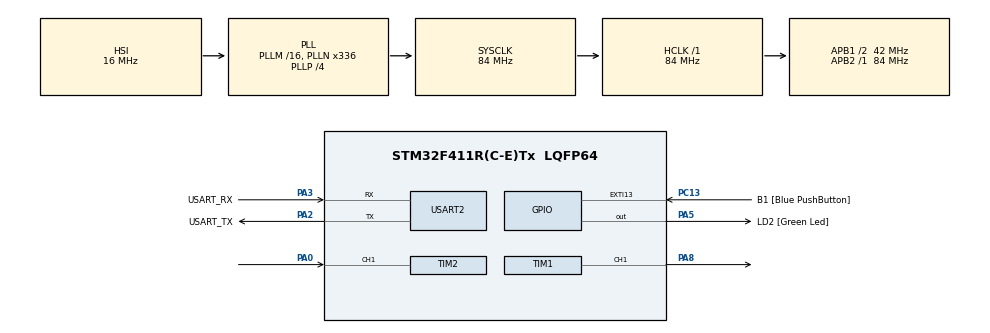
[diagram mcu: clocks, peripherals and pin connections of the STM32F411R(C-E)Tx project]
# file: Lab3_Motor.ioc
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Dma.Request0=TIM2_CH1
Dma.TIM2_CH1.0.Direction=DMA_PERIPH_TO_MEMORY
Dma.TIM2_CH1.0.FIFOMode=DMA_FIFOMODE_DISABLE
Dma.TIM2_CH1.0.Instance=DMA1_Stream5
Dma.TIM2_CH1.0.MemDataAlignment=DMA_MDATAALIGN_WORD
Dma.TIM2_CH1.0.MemInc=DMA_MINC_ENABLE
Dma.TIM2_CH1.0.Mode=DMA_CIRCULAR
Dma.TIM2_CH1.0.PeriphDataAlignment=DMA_PDATAALIGN_WORD
Dma.TIM2_CH1.0.PeriphInc=DMA_PINC_DISABLE
Dma.TIM2_CH1.0.Priority=DMA_PRIORITY_LOW
Mcu.Family=STM32F4
Mcu.Name=STM32F411R(C-E)Tx
Mcu.Package=LQFP64
NVIC.DMA1_Stream5_IRQn=true\:0\:0\:false\:false\:true\:false\:true\:true
NVIC.PriorityGroup=NVIC_PRIORITYGROUP_0
PA0-WKUP.Signal=S_TIM2_CH1_ETR
PA13.GPIO_Label=TMS
PA13.Mode=Serial_Wire
PA13.Signal=SYS_JTMS-SWDIO
PA14.GPIO_Label=TCK
PA14.Mode=Serial_Wire
PA14.Signal=SYS_JTCK-SWCLK
PA2.GPIO_Label=USART_TX
PA2.Mode=Asynchronous
PA2.Signal=USART2_TX
PA3.GPIO_Label=USART_RX
PA3.Mode=Asynchronous
PA3.Signal=USART2_RX
PA5.GPIO_Label=LD2 [Green Led]
PA5.Signal=GPIO_Output
PA8.Signal=S_TIM1_CH1
PB3.GPIO_Label=SWO
PB3.Signal=SYS_JTDO-SWO
PC13-ANTI_TAMP.GPIO_Label=B1 [Blue PushButton]
PC13-ANTI_TAMP.GPIO_ModeDefaultEXTI=GPIO_MODE_IT_FALLING
PC13-ANTI_TAMP.Signal=GPXTI13
PC14-OSC32_IN.Mode=LSE-External-Oscillator
PC14-OSC32_IN.Signal=RCC_OSC32_IN
PC15-OSC32_OUT.Mode=LSE-External-Oscillator
PC15-OSC32_OUT.Signal=RCC_OSC32_OUT
PH0\ -\ OSC_IN.Mode=HSE-External-Clock-Source
PH0\ -\ OSC_IN.Signal=RCC_OSC_IN
PH1\ -\ OSC_OUT.Mode=HSE-External-Clock-Source
PH1\ -\ OSC_OUT.Signal=RCC_OSC_OUT
ProjectManager.HeapSize=0x200
ProjectManager.StackSize=0x400
ProjectManager.TargetToolchain=STM32CubeIDE
RCC.48MHZClocksFreq_Value=84000000
RCC.AHBFreq_Value=84000000
RCC.APB1CLKDivider=RCC_HCLK_DIV2
RCC.APB1Freq_Value=42000000
RCC.APB1TimFreq_Value=84000000
RCC.APB2Freq_Value=84000000
RCC.APB2TimFreq_Value=84000000
RCC.CortexFreq_Value=84000000
RCC.FLatency-AdvancedSettings=FLASH_LATENCY_2
RCC.HCLKFreq_Value=84000000
RCC.HSE_VALUE=8000000
RCC.HSI_VALUE=16000000
RCC.PLLN=336
RCC.PLLP=RCC_PLLP_DIV4
RCC.SYSCLKFreq_VALUE=84000000
RCC.SYSCLKSource=RCC_SYSCLKSOURCE_PLLCLK
RCC.VCOOutputFreq_Value=336000000
SH.S_TIM1_CH1.0=TIM1_CH1,PWM Generation1 CH1
SH.S_TIM2_CH1_ETR.0=TIM2_CH1,Input_Capture1_from_TI1
TIM1.Channel-PWM\ Generation1\ CH1=TIM_CHANNEL_1
TIM1.Period=999
TIM1.Prescaler=83
TIM1.Pulse-PWM\ Generation1\ CH1=500
TIM2.Channel-Input_Capture1_from_TI1=TIM_CHANNEL_1
TIM2.Prescaler=83
USART2.VirtualMode=VM_ASYNC
VP_TIM1_VS_ClockSourceINT.Mode=Internal
VP_TIM2_VS_ClockSourceINT.Mode=Internal
board=NUCLEO-F411RE

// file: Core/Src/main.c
/* USER CODE BEGIN Header */
/**
  ******************************************************************************
  * @file           : main.c
  * @brief          : Main program body
  ******************************************************************************
  * @attention
  *
  * Copyright (c) 2023 STMicroelectronics.
  * All rights reserved.
  *
  * This software is licensed under terms that can be found in the LICENSE file
  * in the root directory of this software component.
  * If no LICENSE file comes with this software, it is provided AS-IS.
  *
  ******************************************************************************
  */
/* USER CODE END Header */
#include "main.h"

/* USER CODE BEGIN Includes */
#define IC_BUFFER_SIZE 20
/* USER CODE END Includes */

TIM_HandleTypeDef htim1;
TIM_HandleTypeDef htim2;
DMA_HandleTypeDef hdma_tim2_ch1;

UART_HandleTypeDef huart2;

/* USER CODE BEGIN PV */
uint32_t InputCaptureBuffer[IC_BUFFER_SIZE];
float averageRisingedgePeriod;
float MotorSetDuty = 50;
//uint32_t MotorSetDuty = 50;
float MotorSetRPM = 0;
float MotorReadRPM = 0;
uint32_t MotorControlEnable = 0;
float ErrorRPM = 0;
/* USER CODE END PV */

void SystemClock_Config(void);
static void MX_GPIO_Init(void);
static void MX_DMA_Init(void);
static void MX_USART2_UART_Init(void);
static void MX_TIM1_Init(void);
static void MX_TIM2_Init(void);
/* USER CODE BEGIN PFP */
float IC_Calc_Period();
/* USER CODE END PFP */

int main(void)
{

  /* MCU Configuration--------------------------------------------------------*/

  /* Reset of all peripherals, Initializes the Flash interface and the Systick. */
  HAL_Init();

  /* Configure the system clock */
  SystemClock_Config();

  /* Initialize all configured peripherals */
  MX_GPIO_Init();
  MX_DMA_Init();
  MX_USART2_UART_Init();
  MX_TIM1_Init();
  MX_TIM2_Init();
  /* USER CODE BEGIN 2 */
  HAL_TIM_Base_Start(&htim2);
  HAL_TIM_IC_Start_DMA(&htim2, TIM_CHANNEL_1, InputCaptureBuffer, IC_BUFFER_SIZE);

  HAL_TIM_Base_Start(&htim1);
  HAL_TIM_PWM_Start(&htim1, TIM_CHANNEL_1);
  /* USER CODE END 2 */

  /* Infinite loop */
  while (1)
  {

    /* USER CODE BEGIN 3 */
	  static uint32_t timestamp = 0;
	  if(HAL_GetTick() >= timestamp)
	  {
		  timestamp = HAL_GetTick() + 500;
//		  averageRisingedgePeriod = IC_Calc_Period();
		  //__HAL_TIM_SET_COMPARE(&htim1,TIM_CHANNEL_1,duty);
		  averageRisingedgePeriod = IC_Calc_Period();
		  MotorReadRPM = 60/(64*12*averageRisingedgePeriod*0.000001);
		  switch(MotorControlEnable)
		  {
		  	  case 0:
		  		  __HAL_TIM_SET_COMPARE(&htim1,TIM_CHANNEL_1,MotorSetDuty*10);
		  		  ErrorRPM = 0;
		  		  break;
		  	  case 1:
		  		  if(MotorSetRPM < MotorReadRPM && MotorSetDuty+ErrorRPM >= 0)
		  		  {
		  			  ErrorRPM -= 1;
		  		  }
		  		  else if(MotorSetRPM > MotorReadRPM && MotorSetDuty+ErrorRPM <= 100)
		  		  {
		  			  ErrorRPM += 1;
		  		  }
		  		  __HAL_TIM_SET_COMPARE(&htim1,TIM_CHANNEL_1,(MotorSetDuty+ErrorRPM)*10);
		  		  break;
		  }
	  }
  }
  /* USER CODE END 3 */
}

void SystemClock_Config(void)
{
  RCC_OscInitTypeDef RCC_OscInitStruct = {0};
  RCC_ClkInitTypeDef RCC_ClkInitStruct = {0};

  /** Configure the main internal regulator output voltage
  */
  __HAL_RCC_PWR_CLK_ENABLE();
  __HAL_PWR_VOLTAGESCALING_CONFIG(PWR_REGULATOR_VOLTAGE_SCALE1);

  /** Initializes the RCC Oscillators according to the specified parameters
  * in the RCC_OscInitTypeDef structure.
  */
  RCC_OscInitStruct.OscillatorType = RCC_OSCILLATORTYPE_HSI;
  RCC_OscInitStruct.HSIState = RCC_HSI_ON;
  RCC_OscInitStruct.HSICalibrationValue = RCC_HSICALIBRATION_DEFAULT;
  RCC_OscInitStruct.PLL.PLLState = RCC_PLL_ON;
  RCC_OscInitStruct.PLL.PLLSource = RCC_PLLSOURCE_HSI;
  RCC_OscInitStruct.PLL.PLLM = 16;
  RCC_OscInitStruct.PLL.PLLN = 336;
  RCC_OscInitStruct.PLL.PLLP = RCC_PLLP_DIV4;
  RCC_OscInitStruct.PLL.PLLQ = 4;
  if (HAL_RCC_OscConfig(&RCC_OscInitStruct) != HAL_OK)
  {
    Error_Handler();
  }

  /** Initializes the CPU, AHB and APB buses clocks
  */
  RCC_ClkInitStruct.ClockType = RCC_CLOCKTYPE_HCLK|RCC_CLOCKTYPE_SYSCLK
                              |RCC_CLOCKTYPE_PCLK1|RCC_CLOCKTYPE_PCLK2;
  RCC_ClkInitStruct.SYSCLKSource = RCC_SYSCLKSOURCE_PLLCLK;
  RCC_ClkInitStruct.AHBCLKDivider = RCC_SYSCLK_DIV1;
  RCC_ClkInitStruct.APB1CLKDivider = RCC_HCLK_DIV2;
  RCC_ClkInitStruct.APB2CLKDivider = RCC_HCLK_DIV1;

  if (HAL_RCC_ClockConfig(&RCC_ClkInitStruct, FLASH_LATENCY_2) != HAL_OK)
  {
    Error_Handler();
  }
}

static void MX_TIM1_Init(void)
{

  TIM_ClockConfigTypeDef sClockSourceConfig = {0};
  TIM_MasterConfigTypeDef sMasterConfig = {0};
  TIM_OC_InitTypeDef sConfigOC = {0};
  TIM_BreakDeadTimeConfigTypeDef sBreakDeadTimeConfig = {0};

  htim1.Instance = TIM1;
  htim1.Init.Prescaler = 83;
  htim1.Init.CounterMode = TIM_COUNTERMODE_UP;
  htim1.Init.Period = 999;
  htim1.Init.ClockDivision = TIM_CLOCKDIVISION_DIV1;
  htim1.Init.RepetitionCounter = 0;
  htim1.Init.AutoReloadPreload = TIM_AUTORELOAD_PRELOAD_DISABLE;
  if (HAL_TIM_Base_Init(&htim1) != HAL_OK)
  {
    Error_Handler();
  }
  sClockSourceConfig.ClockSource = TIM_CLOCKSOURCE_INTERNAL;
  if (HAL_TIM_ConfigClockSource(&htim1, &sClockSourceConfig) != HAL_OK)
  {
    Error_Handler();
  }
  if (HAL_TIM_PWM_Init(&htim1) != HAL_OK)
  {
    Error_Handler();
  }
  sMasterConfig.MasterOutputTrigger = TIM_TRGO_RESET;
  sMasterConfig.MasterSlaveMode = TIM_MASTERSLAVEMODE_DISABLE;
  if (HAL_TIMEx_MasterConfigSynchronization(&htim1, &sMasterConfig) != HAL_OK)
  {
    Error_Handler();
  }
  sConfigOC.OCMode = TIM_OCMODE_PWM1;
  sConfigOC.Pulse = 500;
  sConfigOC.OCPolarity = TIM_OCPOLARITY_HIGH;
  sConfigOC.OCNPolarity = TIM_OCNPOLARITY_HIGH;
  sConfigOC.OCFastMode = TIM_OCFAST_DISABLE;
  sConfigOC.OCIdleState = TIM_OCIDLESTATE_RESET;
  sConfigOC.OCNIdleState = TIM_OCNIDLESTATE_RESET;
  if (HAL_TIM_PWM_ConfigChannel(&htim1, &sConfigOC, TIM_CHANNEL_1) != HAL_OK)
  {
    Error_Handler();
  }
  sBreakDeadTimeConfig.OffStateRunMode = TIM_OSSR_DISABLE;
  sBreakDeadTimeConfig.OffStateIDLEMode = TIM_OSSI_DISABLE;
  sBreakDeadTimeConfig.LockLevel = TIM_LOCKLEVEL_OFF;
  sBreakDeadTimeConfig.DeadTime = 0;
  sBreakDeadTimeConfig.BreakState = TIM_BREAK_DISABLE;
  sBreakDeadTimeConfig.BreakPolarity = TIM_BREAKPOLARITY_HIGH;
  sBreakDeadTimeConfig.AutomaticOutput = TIM_AUTOMATICOUTPUT_DISABLE;
  if (HAL_TIMEx_ConfigBreakDeadTime(&htim1, &sBreakDeadTimeConfig) != HAL_OK)
  {
    Error_Handler();
  }
  HAL_TIM_MspPostInit(&htim1);

}

static void MX_TIM2_Init(void)
{

  TIM_ClockConfigTypeDef sClockSourceConfig = {0};
  TIM_MasterConfigTypeDef sMasterConfig = {0};
  TIM_IC_InitTypeDef sConfigIC = {0};

  htim2.Instance = TIM2;
  htim2.Init.Prescaler = 83;
  htim2.Init.CounterMode = TIM_COUNTERMODE_UP;
  htim2.Init.Period = 4294967295;
  htim2.Init.ClockDivision = TIM_CLOCKDIVISION_DIV1;
  htim2.Init.AutoReloadPreload = TIM_AUTORELOAD_PRELOAD_DISABLE;
  if (HAL_TIM_Base_Init(&htim2) != HAL_OK)
  {
    Error_Handler();
  }
  sClockSourceConfig.ClockSource = TIM_CLOCKSOURCE_INTERNAL;
  if (HAL_TIM_ConfigClockSource(&htim2, &sClockSourceConfig) != HAL_OK)
  {
    Error_Handler();
  }
  if (HAL_TIM_IC_Init(&htim2) != HAL_OK)
  {
    Error_Handler();
  }
  sMasterConfig.MasterOutputTrigger = TIM_TRGO_RESET;
  sMasterConfig.MasterSlaveMode = TIM_MASTERSLAVEMODE_DISABLE;
  if (HAL_TIMEx_MasterConfigSynchronization(&htim2, &sMasterConfig) != HAL_OK)
  {
    Error_Handler();
  }
  sConfigIC.ICPolarity = TIM_INPUTCHANNELPOLARITY_RISING;
  sConfigIC.ICSelection = TIM_ICSELECTION_DIRECTTI;
  sConfigIC.ICPrescaler = TIM_ICPSC_DIV1;
  sConfigIC.ICFilter = 0;
  if (HAL_TIM_IC_ConfigChannel(&htim2, &sConfigIC, TIM_CHANNEL_1) != HAL_OK)
  {
    Error_Handler();
  }

}

static void MX_USART2_UART_Init(void)
{

  huart2.Instance = USART2;
  huart2.Init.BaudRate = 115200;
  huart2.Init.WordLength = UART_WORDLENGTH_8B;
  huart2.Init.StopBits = UART_STOPBITS_1;
  huart2.Init.Parity = UART_PARITY_NONE;
  huart2.Init.Mode = UART_MODE_TX_RX;
  huart2.Init.HwFlowCtl = UART_HWCONTROL_NONE;
  huart2.Init.OverSampling = UART_OVERSAMPLING_16;
  if (HAL_UART_Init(&huart2) != HAL_OK)
  {
    Error_Handler();
  }

}

static void MX_DMA_Init(void)
{

  /* DMA controller clock enable */
  __HAL_RCC_DMA1_CLK_ENABLE();

  /* DMA interrupt init */
  /* DMA1_Stream5_IRQn interrupt configuration */
  HAL_NVIC_SetPriority(DMA1_Stream5_IRQn, 0, 0);
  HAL_NVIC_EnableIRQ(DMA1_Stream5_IRQn);

}

static void MX_GPIO_Init(void)
{
  GPIO_InitTypeDef GPIO_InitStruct = {0};

  /* GPIO Ports Clock Enable */
  __HAL_RCC_GPIOC_CLK_ENABLE();
  __HAL_RCC_GPIOH_CLK_ENABLE();
  __HAL_RCC_GPIOA_CLK_ENABLE();
  __HAL_RCC_GPIOB_CLK_ENABLE();

  /*Configure GPIO pin Output Level */
  HAL_GPIO_WritePin(LD2_GPIO_Port, LD2_Pin, GPIO_PIN_RESET);

  /*Configure GPIO pin : B1_Pin */
  GPIO_InitStruct.Pin = B1_Pin;
  GPIO_InitStruct.Mode = GPIO_MODE_IT_FALLING;
  GPIO_InitStruct.Pull = GPIO_NOPULL;
  HAL_GPIO_Init(B1_GPIO_Port, &GPIO_InitStruct);

  /*Configure GPIO pin : LD2_Pin */
  GPIO_InitStruct.Pin = LD2_Pin;
  GPIO_InitStruct.Mode = GPIO_MODE_OUTPUT_PP;
  GPIO_InitStruct.Pull = GPIO_NOPULL;
  GPIO_InitStruct.Speed = GPIO_SPEED_FREQ_LOW;
  HAL_GPIO_Init(LD2_GPIO_Port, &GPIO_InitStruct);

}

/* USER CODE BEGIN 4 */
float IC_Calc_Period()
{
	uint32_t currentDMAPointer = IC_BUFFER_SIZE - __HAL_DMA_GET_COUNTER((htim2.hdma[1]));
	uint32_t lastVaildDMAPointer = (currentDMAPointer-1 + IC_BUFFER_SIZE) % IC_BUFFER_SIZE;
	uint32_t i = (lastVaildDMAPointer + IC_BUFFER_SIZE - 5) % IC_BUFFER_SIZE;
	int32_t sumdiff = 0;
	while(i != lastVaildDMAPointer)
	{
		uint32_t FirstCapture = InputCaptureBuffer[i];
		uint32_t NextCapture = InputCaptureBuffer[(i+1) % IC_BUFFER_SIZE];
		sumdiff += NextCapture - FirstCapture;
		i = (i+1) % IC_BUFFER_SIZE;
	}
	return sumdiff / 5.0;
}
/* USER CODE END 4 */

void Error_Handler(void)
{
  __disable_irq();
  while (1)
  {
  }
}
